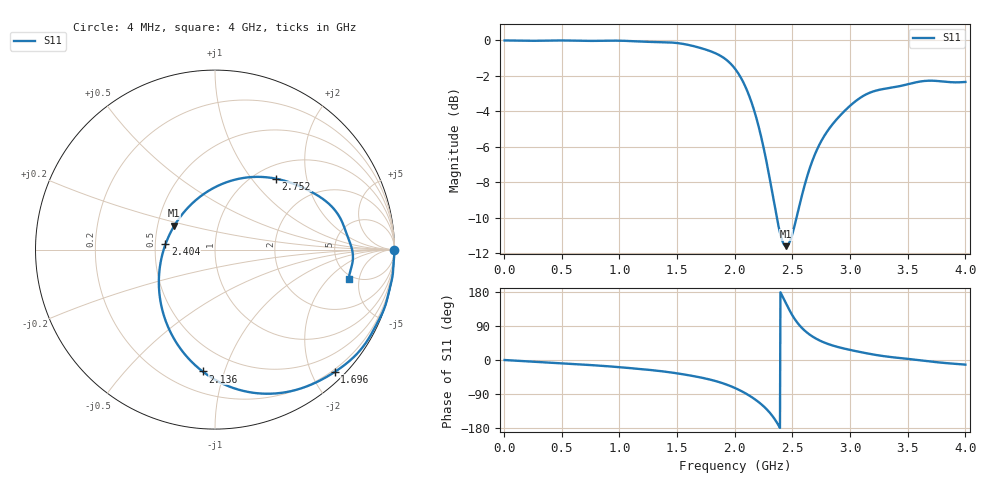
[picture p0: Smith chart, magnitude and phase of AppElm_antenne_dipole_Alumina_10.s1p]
! TOUCHSTONE file generated by CST MICROWAVE STUDIO
! Date and time: Sat May 14 12:01:03 2022
! Project name: AppElm_antenne_dipole_Alumina.cst
! Parameters = {L=33; e=0.035; f=2.45e+09; h=1.6; i=0.8; l1=2; lambda=122.449; ls=36; wl=1.7; ws=80}
! Header version: 2018
! Port assignment regex: !\s*Touchstone port\s*([0-9]+)\s*=\s*(CST MWS port|CST DS port)\s*([0-9]+|Zmin|Zmax)\s*\(\"(.*)\"\)(\s*mode\s*([0-9]+))?.*
! Touchstone port assignment:
! Touchstone port 1 = CST MWS port 1 ("")
# GHz S MA R 50
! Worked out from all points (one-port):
!   1000 points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, 4 MHz to 4 GHz, reference 50 ohm
!   lowest |S11| = -11.6 dB at 2.444 GHz (marker M1), VSWR 1.71, Z = 30.6 + j8.74 ohm
!   |S11| at or under -10 dB: 2.365 GHz to 2.535 GHz (170.9 MHz wide, 6.97 % of centre)
!   S11 on the Smith chart (normalised r, x): 4 MHz: open; 1.696 GHz: 0.16, -2.37; 2.136 GHz: 0.33, -0.85; 2.404 GHz: 0.57, +0.04; 2.752 GHz: 1.23, +1.34; 4 GHz: 4.61, -3.58
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0.004  1 -0.1
0.504  1 -8.7
1.004  0.9984 -19.1
1.32  0.9901 -28.1
1.504  0.983 -35.4
1.696  0.9537 -45.6
1.784  0.9339 -51.6
1.86  0.9111 -57.9
1.932  0.8793 -65.2
2.004  0.8307 -74.2
2.072  0.7645 -84.4
2.136  0.6825 -95.8
2.212  0.5635 -112.2
2.276  0.4535 -129.8
2.34  0.3495 -153.4
2.404  0.2775 173.9
2.444  0.2629 149.6
2.504  0.2881 115.6
2.56  0.3414 92.0
2.616  0.4013 75.0
2.676  0.4604 61.6
2.752  0.5215 49.2
2.86  0.5868 37.2
3.004  0.6561 26.4
3.204  0.7187 14.3
3.504  0.753 2.8
3.68  0.7699 -3.4
4  0.7638 -12.2
